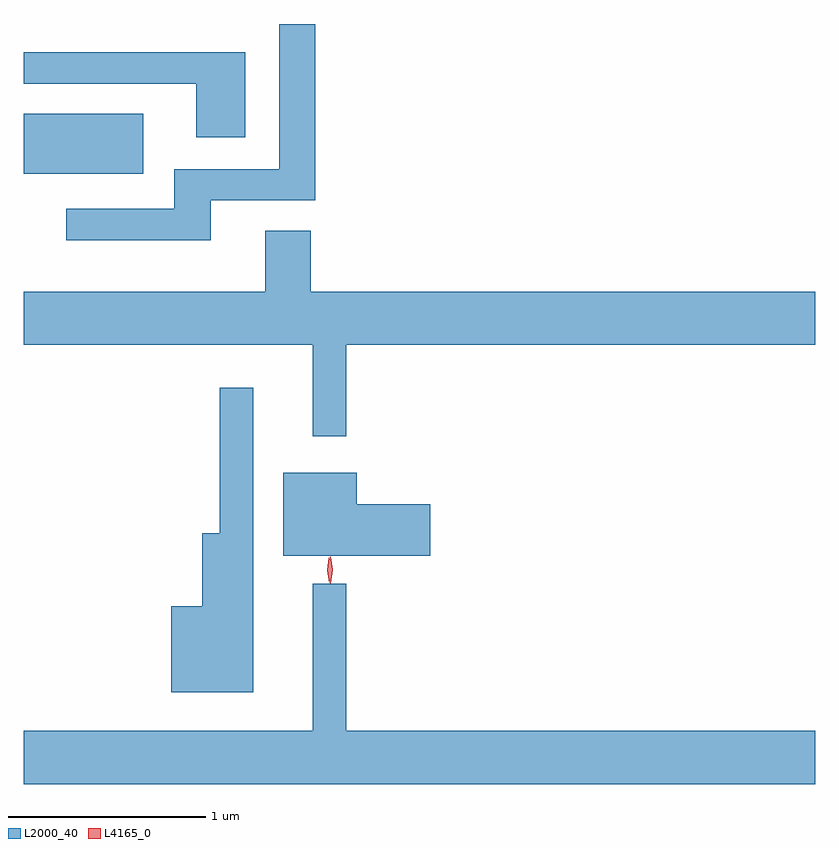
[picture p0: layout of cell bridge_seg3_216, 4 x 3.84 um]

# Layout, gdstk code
import gdstk
lib = gdstk.Library(unit=1e-6, precision=1e-09)
def R(c, l, rs):  # rectangles x0, y0, x1, y1
    for r in rs: c.add(gdstk.rectangle(r[:2], r[2:], *l))
def P(c, l, *ps):  # polygons
    for p in ps: c.add(gdstk.Polygon(p, *l))
L2000_40 = (2000, 40)
L4165_0 = (4165, 0)

bridge_seg3_216 = lib.new_cell('bridge_seg3_216')
R(bridge_seg3_216, L2000_40, [(958.25,1171.281,958.854,1171.584)])
P(bridge_seg3_216, L2000_40, [(959.194,1171.146),(959.724,1171.146),(959.724,1172.038),(959.541,1172.038),(959.541,1171.304),(959.011,1171.304),(959.011,1171.104),(958.463,1171.104),(958.463,1170.946),(959.194,1170.946)],
  [(959.369,1171.894),(958.25,1171.894),(958.25,1171.736),(959.121,1171.736),(959.121,1171.466),(959.369,1171.466)],
  [(959.879,1170.416),(962.25,1170.416),(962.25,1170.684),(959.699,1170.684),(959.699,1170.994),(959.471,1170.994),(959.471,1170.684),(958.25,1170.684),(958.25,1170.416),(959.711,1170.416),(959.711,1169.953),(959.879,1169.953)],
  [(959.409,1170.198),(959.241,1170.198),(959.241,1169.464),(959.151,1169.464),(959.151,1169.094),(958.996,1169.094),(958.996,1168.661),(959.409,1168.661)],
  [(960.304,1169.609),(959.934,1169.609),(959.934,1169.769),(959.561,1169.769),(959.561,1169.351),(960.304,1169.351)],
  [(962.25,1168.464),(959.879,1168.464),(959.879,1169.208),(959.711,1169.208),(959.711,1168.464),(958.25,1168.464),(958.25,1168.196),(962.25,1168.196)])
P(bridge_seg3_216, L4165_0, [(959.8,1169.21),(959.791,1169.278),(959.8,1169.346),(959.801,1169.346),(959.801,1169.346),(959.811,1169.278),(959.801,1169.21),(959.801,1169.21)],
  [(959.793,1169.213),(959.793,1169.214),(959.783,1169.276),(959.792,1169.34),(959.793,1169.34),(959.793,1169.34),(959.803,1169.276),(959.794,1169.214)])

lib.write_gds('bridge_seg3_216.gds')
